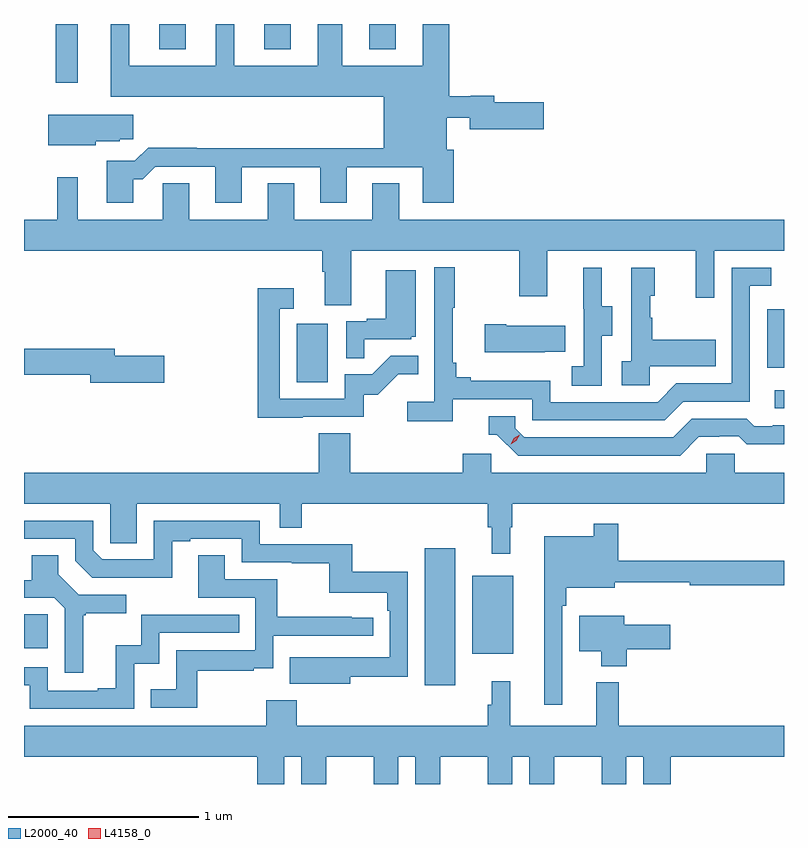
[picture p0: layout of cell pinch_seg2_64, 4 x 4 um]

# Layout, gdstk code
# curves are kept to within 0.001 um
import gdstk
lib = gdstk.Library(unit=1e-6, precision=1e-09)
def R(c, l, rs):  # rectangles x0, y0, x1, y1
    for r in rs: c.add(gdstk.rectangle(r[:2], r[2:], *l))
def A(c, l, x, y, w, h, nx, ny, dx, dy):  # array of equal rectangles
    R(c, l, [(x+i*dx, y+j*dy, x+i*dx+w, y+j*dy+h) for i in range(nx) for j in range(ny)])
def P(c, l, *ps):  # polygons
    for p in ps: c.add(gdstk.Polygon(p, *l))
L2000_40 = (2000, 40)
L4158_0 = (4158, 0)

pinch_seg2_64 = lib.new_cell('pinch_seg2_64')
A(pinch_seg2_64, L2000_40, 1035.725, 652.691, 0.14, 0.134, 3, 1, 0.552, 0)
R(pinch_seg2_64, L2000_40, [(1037.123,649.344,1037.284,650.065), (1037.372,649.511,1037.587,649.921), (1035.013,649.539,1035.138,649.719), (1038.963,650.802,1039.013,650.898), (1036.448,650.94,1036.612,651.247), (1038.924,651.015,1039.013,651.324), (1035.181,652.515,1035.295,652.825)])
P(pinch_seg2_64, L2000_40, [(1035.589,652.007),(1035.638,652.007),(1035.705,652.074),(1036.019,652.074),(1036.019,651.885),(1036.159,651.885),(1036.159,652.071),(1036.571,652.071),(1036.571,651.885),(1036.711,651.885),(1036.711,652.071),(1037.111,652.071),(1037.111,651.885),(1037.276,651.885),(1037.276,652.164),(1037.239,652.164),(1037.239,652.331),(1037.36,652.331),(1037.36,652.27),(1037.749,652.27),(1037.749,652.412),(1037.488,652.412),(1037.488,652.448),(1037.364,652.448),(1037.364,652.444),(1037.252,652.444),(1037.252,652.825),(1037.111,652.825),(1037.111,652.606),(1036.687,652.606),(1036.687,652.825),(1036.559,652.825),(1036.559,652.606),(1036.12,652.606),(1036.12,652.825),(1036.022,652.825),(1036.022,652.606),(1035.568,652.606),(1035.568,652.825),(1035.47,652.825),(1035.47,652.442),(1036.907,652.442),(1036.907,652.172),(1035.923,652.172),(1035.923,652.175),(1035.668,652.175),(1035.597,652.104),(1035.449,652.104),(1035.449,651.885),(1035.589,651.885)],
  [(1035.39,652.208),(1035.516,652.208),(1035.516,652.219),(1035.589,652.219),(1035.589,652.348),(1035.14,652.348),(1035.14,652.187),(1035.39,652.187)],
  [(1036.735,651.632),(1037.62,651.632),(1037.62,651.393),(1037.767,651.393),(1037.767,651.632),(1038.548,651.632),(1038.548,651.384),(1038.645,651.384),(1038.645,651.632),(1039.013,651.632),(1039.013,651.796),(1036.987,651.796),(1036.987,651.986),(1036.847,651.986),(1036.847,651.796),(1036.435,651.796),(1036.435,651.986),(1036.295,651.986),(1036.295,651.796),(1035.883,651.796),(1035.883,651.986),(1035.744,651.986),(1035.744,651.796),(1035.295,651.796),(1035.295,652.018),(1035.189,652.018),(1035.189,651.796),(1035.013,651.796),(1035.013,651.632),(1036.583,651.632),(1036.583,651.52),(1036.595,651.52),(1036.595,651.346),(1036.735,651.346)],
  [(1037.27,650.85),(1037.688,650.85),(1037.688,650.739),(1038.385,650.739),(1038.484,650.838),(1038.834,650.838),(1038.834,651.447),(1038.947,651.447),(1038.947,651.543),(1038.738,651.543),(1038.738,650.934),(1038.447,650.934),(1038.348,650.835),(1037.784,650.835),(1037.784,650.947),(1037.365,650.947),(1037.365,650.966),(1037.288,650.966),(1037.288,651.043),(1037.269,651.043),(1037.269,651.331),(1037.281,651.331),(1037.281,651.544),(1037.172,651.544),(1037.172,650.836),(1037.031,650.836),(1037.031,650.734),(1037.27,650.734)],
  [(1038.306,651.023),(1038.653,651.023),(1038.653,651.163),(1038.319,651.163),(1038.319,651.278),(1038.309,651.278),(1038.309,651.396),(1038.334,651.396),(1038.334,651.541),(1038.21,651.541),(1038.21,651.05),(1038.159,651.05),(1038.159,650.925),(1038.306,650.925)],
  [(1038.054,651.184),(1038.109,651.184),(1038.109,651.339),(1038.055,651.339),(1038.055,651.541),(1037.957,651.541),(1037.957,651.327),(1037.958,651.327),(1037.958,651.023),(1037.895,651.023),(1037.895,650.92),(1038.054,650.92)],
  [(1036.805,651.165),(1037.052,651.165),(1037.052,651.18),(1037.074,651.18),(1037.074,651.529),(1036.916,651.529),(1036.916,651.274),(1036.817,651.274),(1036.817,651.261),(1036.71,651.261),(1036.71,651.067),(1036.805,651.067)],
  [(1036.481,650.757),(1036.8,650.757),(1036.8,650.874),(1036.876,650.874),(1036.983,650.981),(1037.087,650.981),(1037.087,651.08),(1036.943,651.08),(1036.845,650.982),(1036.701,650.982),(1036.701,650.853),(1036.359,650.853),(1036.359,651.327),(1036.432,651.327),(1036.432,651.433),(1036.243,651.433),(1036.243,650.752),(1036.481,650.752)],
  [(1037.753,651.101),(1037.861,651.101),(1037.861,651.238),(1037.551,651.238),(1037.551,651.246),(1037.439,651.246),(1037.439,651.098),(1037.753,651.098)],
  [(1035.751,651.08),(1035.49,651.08),(1035.49,651.116),(1035.013,651.116),(1035.013,650.98),(1035.362,650.98),(1035.362,650.938),(1035.751,650.938)],
  [(1038.565,650.652),(1038.672,650.652),(1038.672,650.655),(1038.775,650.655),(1038.817,650.613),(1039.013,650.613),(1039.013,650.712),(1038.955,650.712),(1038.955,650.709),(1038.856,650.709),(1038.817,650.748),(1038.528,650.748),(1038.429,650.649),(1037.646,650.649),(1037.598,650.697),(1037.598,650.76),(1037.459,650.76),(1037.459,650.664),(1037.502,650.664),(1037.613,650.553),(1038.466,650.553)],
  [(1037.572,650.177),(1037.584,650.177),(1037.584,650.3),(1039.013,650.3),(1039.013,650.464),(1038.753,650.464),(1038.753,650.562),(1038.603,650.562),(1038.603,650.464),(1037.472,650.464),(1037.472,650.562),(1037.321,650.562),(1037.321,650.464),(1036.73,650.464),(1036.73,650.672),(1036.565,650.672),(1036.565,650.464),(1035.013,650.464),(1035.013,650.3),(1035.468,650.3),(1035.468,650.092),(1035.607,650.092),(1035.607,650.3),(1036.359,650.3),(1036.359,650.173),(1036.475,650.173),(1036.475,650.3),(1037.455,650.3),(1037.455,650.177),(1037.474,650.177),(1037.474,650.037),(1037.572,650.037)],
  [(1036.729,649.39),(1037.034,649.39),(1037.034,649.942),(1036.741,649.942),(1036.741,650.088),(1036.254,650.088),(1036.254,650.211),(1035.696,650.211),(1035.696,650.007),(1035.426,650.007),(1035.378,650.055),(1035.378,650.211),(1035.013,650.211),(1035.013,650.115),(1035.282,650.115),(1035.282,650.001),(1035.372,649.911),(1035.793,649.91),(1035.793,650.103),(1035.889,650.103),(1035.889,650.115),(1036.158,650.115),(1036.158,649.992),(1036.423,649.992),(1036.423,649.987),(1036.62,649.987),(1036.62,649.832),(1036.925,649.832),(1036.925,649.736),(1036.938,649.736),(1036.938,649.491),(1036.411,649.492),(1036.411,649.352),(1036.729,649.352)],
  [(1037.847,649.763),(1037.867,649.763),(1037.867,649.859),(1038.121,649.859),(1038.121,649.888),(1038.517,649.888),(1038.517,649.87),(1039.013,649.87),(1039.013,649.999),(1038.14,649.999),(1038.14,650.194),(1038.012,650.194),(1038.012,650.128),(1037.75,650.128),(1037.75,649.242),(1037.847,649.242)],
  [(1035.325,649.713),(1035.337,649.713),(1035.337,649.724),(1035.55,649.724),(1035.55,649.821),(1035.3,649.821),(1035.193,649.928),(1035.193,650.03),(1035.053,650.03),(1035.053,649.898),(1035.013,649.898),(1035.013,649.806),(1035.171,649.806),(1035.228,649.749),(1035.228,649.41),(1035.325,649.41)],
  [(1035.925,649.422),(1036.223,649.422),(1036.223,649.433),(1036.326,649.433),(1036.326,649.605),(1036.852,649.605),(1036.852,649.701),(1036.739,649.701),(1036.739,649.706),(1036.346,649.706),(1036.346,649.902),(1036.069,649.902),(1036.069,650.03),(1035.929,650.03),(1035.929,649.806),(1036.23,649.806),(1036.23,649.53),(1035.814,649.53),(1035.814,649.324),(1035.679,649.324),(1035.679,649.227),(1035.925,649.227)],
  [(1035.594,649.457),(1035.726,649.457),(1035.726,649.62),(1036.145,649.62),(1036.145,649.716),(1035.63,649.716),(1035.63,649.555),(1035.497,649.555),(1035.497,649.33),(1035.401,649.33),(1035.401,649.317),(1035.138,649.317),(1035.138,649.44),(1035.013,649.44),(1035.013,649.344),(1035.042,649.344),(1035.042,649.221),(1035.594,649.221)],
  [(1038.185,649.534),(1038.415,649.534),(1038.415,649.663),(1038.172,649.663),(1038.172,649.711),(1037.936,649.711),(1037.936,649.523),(1038.05,649.523),(1038.05,649.445),(1038.185,649.445)],
  [(1035.013,648.968),(1036.241,648.968),(1036.241,648.825),(1036.384,648.825),(1036.384,648.968),(1036.472,648.968),(1036.472,648.825),(1036.603,648.825),(1036.603,648.968),(1036.853,648.968),(1036.853,648.825),(1036.984,648.825),(1036.984,648.968),(1037.072,648.968),(1037.072,648.825),(1037.203,648.825),(1037.203,648.968),(1037.453,648.968),(1037.453,648.825),(1037.584,648.825),(1037.584,648.968),(1037.672,648.968),(1037.672,648.825),(1037.803,648.825),(1037.803,648.968),(1038.053,648.968),(1038.053,648.825),(1038.184,648.825),(1038.184,648.968),(1038.272,648.968),(1038.272,648.825),(1038.416,648.825),(1038.416,648.968),(1039.013,648.968),(1039.013,649.132),(1038.143,649.132),(1038.143,649.36),(1038.026,649.36),(1038.026,649.132),(1037.573,649.132),(1037.573,649.366),(1037.474,649.366),(1037.474,649.241),(1037.455,649.241),(1037.455,649.132),(1036.448,649.132),(1036.448,649.267),(1036.288,649.267),(1036.288,649.132),(1035.013,649.132)])
P(pinch_seg2_64, L4158_0, [(1037.574,650.612),(1037.574,650.612),(1037.59,650.644),(1037.621,650.663),(1037.621,650.663),(1037.621,650.663),(1037.605,650.631),(1037.574,650.612)])

lib.write_gds('pinch_seg2_64.gds')
